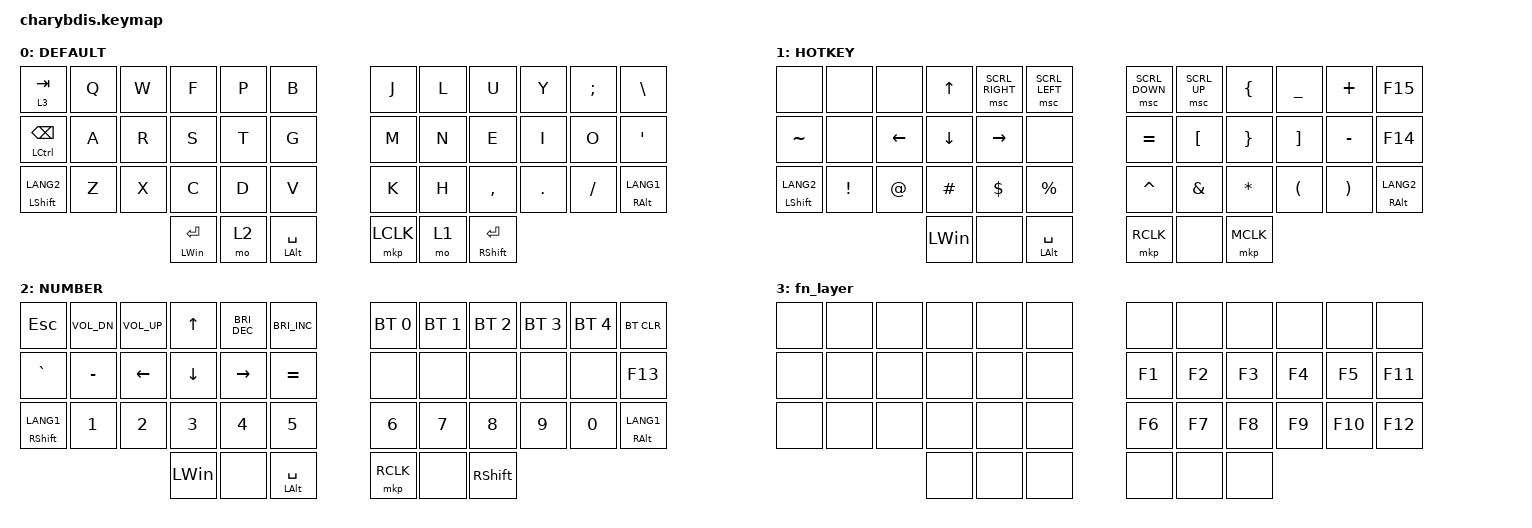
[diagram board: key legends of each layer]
#define ZMK_POINTING_DEFAULT_SCRL_VAL  15

#include <dt-bindings/zmk/mouse.h>
#include <behaviors.dtsi>
#include <dt-bindings/zmk/bt.h>
#include <dt-bindings/zmk/keys.h>
#include <dt-bindings/zmk/pointing.h>

#define DEFAULT 0
#define NUMBER  1
#define FN  2
#define HOTKEY  3


/ {
    combos { compatible = "zmk,combos"; };

    keymap {
        compatible = "zmk,keymap";

        default_layer {
            label = "DEFAULT";
            bindings = <
&lt 3 TAB                   &kp Q  &kp W  &kp F             &kp P  &kp B               &kp J      &kp L  &kp U                &kp Y    &kp SEMICOLON  &kp BACKSLASH
&mt LEFT_CONTROL BACKSPACE  &kp A  &kp R  &kp S             &kp T  &kp G               &kp M      &kp N  &kp E                &kp I    &kp O          &kp SQT
&mt LEFT_SHIFT LANG2        &kp Z  &kp X  &kp C             &kp D  &kp V               &kp K      &kp H  &kp COMMA            &kp DOT  &kp FSLH       &mt RIGHT_ALT LANG1
                                          &mt LEFT_WIN RET  &mo 2  &mt LEFT_ALT SPACE  &mkp LCLK  &mo 1  &mt RIGHT_SHIFT RET
            >;
        };

        hotkey_layer {
            label = "HOTKEY";
            bindings = <
&none                 &none     &none     &kp UP        &msc SCRL_RIGHT  &msc SCRL_LEFT      &msc SCRL_DOWN  &msc SCRL_UP      &kp LEFT_BRACE   &kp UNDER             &kp PLUS               &kp F15
&kp TILDE             &none     &kp LEFT  &kp DOWN      &kp RIGHT        &none               &kp EQUAL       &kp LEFT_BRACKET  &kp RIGHT_BRACE  &kp RIGHT_BRACKET     &kp MINUS              &kp F14
&mt LEFT_SHIFT LANG2  &kp EXCL  &kp AT    &kp HASH      &kp DOLLAR       &kp PERCENT         &kp CARET       &kp AMPERSAND     &kp ASTERISK     &kp LEFT_PARENTHESIS  &kp RIGHT_PARENTHESIS  &mt RIGHT_ALT LANG2
                                          &kp LEFT_WIN  &none            &mt LEFT_ALT SPACE  &mkp RCLK       &none             &mkp MCLK
            >;
        };

        number_layer {
            label = "NUMBER";
            bindings = <
&kp ESCAPE             &kp C_VOL_DN  &kp C_VOLUME_UP  &kp UP_ARROW    &kp C_BRIGHTNESS_DEC  &kp C_BRIGHTNESS_INC  &bt BT_SEL 0  &bt BT_SEL 1  &bt BT_SEL 2     &bt BT_SEL 3  &bt BT_SEL 4  &bt BT_CLR
&kp GRAVE              &kp MINUS     &kp LEFT         &kp DOWN_ARROW  &kp RIGHT             &kp EQUAL             &none         &none         &none            &none         &none         &kp F13
&mt RIGHT_SHIFT LANG1  &kp NUMBER_1  &kp NUMBER_2     &kp NUMBER_3    &kp NUMBER_4          &kp NUMBER_5          &kp NUMBER_6  &kp NUMBER_7  &kp NUMBER_8     &kp NUMBER_9  &kp NUMBER_0  &mt RIGHT_ALT LANG1
                                                      &kp LEFT_WIN    &none                 &mt LEFT_ALT SPACE    &mkp RCLK     &none         &kp RIGHT_SHIFT
            >;
        };

        fn_layer {
            bindings = <
&none  &none  &none  &none  &none  &none  &none   &none   &none   &none   &none    &none
&none  &none  &none  &none  &none  &none  &kp F1  &kp F2  &kp F3  &kp F4  &kp F5   &kp F11
&none  &none  &none  &none  &none  &none  &kp F6  &kp F7  &kp F8  &kp F9  &kp F10  &kp F12
                     &none  &none  &none  &none   &none   &none
            >;
        };
    };
};
